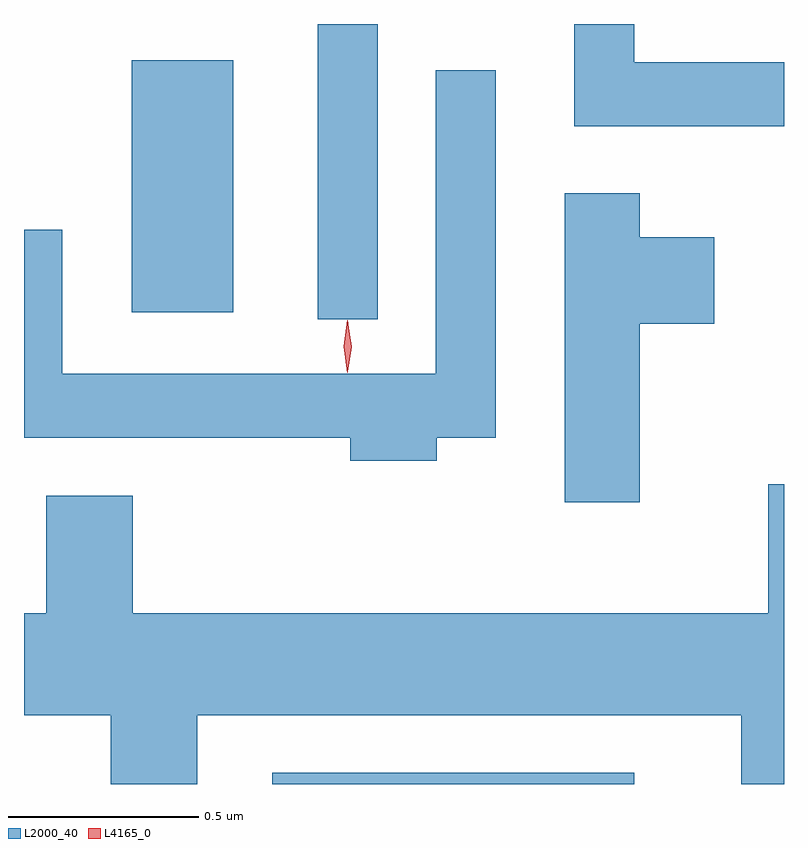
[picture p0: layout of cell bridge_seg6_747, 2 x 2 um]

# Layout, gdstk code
import gdstk
lib = gdstk.Library(unit=1e-6, precision=1e-09)
def R(c, l, rs):  # rectangles x0, y0, x1, y1
    for r in rs: c.add(gdstk.rectangle(r[:2], r[2:], *l))
def P(c, l, *ps):  # polygons
    for p in ps: c.add(gdstk.Polygon(p, *l))
L2000_40 = (2000, 40)
L4165_0 = (4165, 0)

bridge_seg6_747 = lib.new_cell('bridge_seg6_747')
R(bridge_seg6_747, L2000_40, [(398.786,1547.635,399.739,1547.664), (398.906,1548.858,399.064,1549.635), (398.416,1548.876,398.684,1549.539)])
P(bridge_seg6_747, L2000_40, [(400.133,1549.534),(399.739,1549.534),(399.739,1549.635),(399.581,1549.635),(399.581,1549.366),(400.133,1549.366)],
  [(399.219,1548.546),(399.374,1548.546),(399.374,1549.513),(399.216,1549.513),(399.216,1548.714),(398.234,1548.714),(398.234,1549.093),(398.133,1549.093),(398.133,1548.546),(398.991,1548.546),(398.991,1548.486),(399.219,1548.486)],
  [(399.754,1548.846),(399.949,1548.846),(399.949,1549.074),(399.754,1549.074),(399.754,1549.189),(399.556,1549.189),(399.556,1548.376),(399.754,1548.376)],
  [(398.589,1547.816),(400.021,1547.816),(400.021,1547.635),(400.133,1547.635),(400.133,1548.424),(400.091,1548.424),(400.091,1548.084),(398.419,1548.084),(398.419,1548.394),(398.191,1548.394),(398.191,1548.084),(398.133,1548.084),(398.133,1547.816),(398.361,1547.816),(398.361,1547.635),(398.589,1547.635)])
P(bridge_seg6_747, L4165_0, [(398.985,1548.719),(398.984,1548.72),(398.975,1548.786),(398.984,1548.852),(398.985,1548.853),(398.985,1548.852),(398.995,1548.786),(398.985,1548.72)],
  [(398.983,1548.717),(398.974,1548.787),(398.984,1548.856),(398.985,1548.856),(398.985,1548.856),(398.994,1548.786),(398.984,1548.717),(398.984,1548.717)])

lib.write_gds('bridge_seg6_747.gds')
